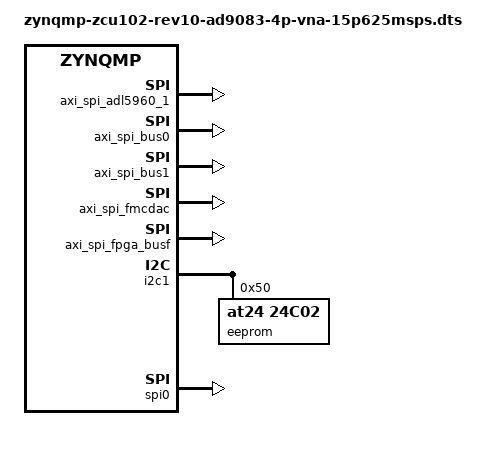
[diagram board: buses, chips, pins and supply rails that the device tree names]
// SPDX-License-Identifier: GPL-2.0
/*
 * Analog Devices AD9083-ADL5960
 * https://wiki.analog.com/resources/eval/dpg/ad9083-fmc-ebz
 * https://wiki.analog.com/resources/eval/dpg/eval-ad9083
 *
 * hdl_project: <adc_fmc_ebz/zcu102>
 * board_revision: <>
 *
 * Copyright (C) 2021 Analog Devices Inc.
 */

// / {
// 	amba_pl: amba_pl@0 {
// 		#address-cells = <2>;
// 		#size-cells = <2>;
// 		compatible = "simple-bus";
// 		ranges ;
// 		ad4858_axi: axi_spi_engine@84c00000 {
// 			clock-names = "s_axi_aclk", "spi_clk";
// 			clocks = <&zynqmp_clk 71>, <&misc_clk_0>;
// 			compatible = "xlnx,axi-spi-engine-1.0";
// 			reg = <0x84c00000 0x10000>;
// 		};
// 		misc_clk_0: misc_clk_0 {
// 			#clock-cells = <0>;
// 			clock-frequency = <96000000>;
// 			compatible = "fixed-clock";
// 		};
// 		axi_ad4858_clkgen: axi_clkgen@84c60000 {
// 			clock-names = "clk", "s_axi_aclk";
// 			clocks = <&zynqmp_clk 71>, <&zynqmp_clk 71>;
// 			compatible = "xlnx,axi-clkgen-1.0";
// 			reg = <0x84c60000 0x10000>;
// 		};
// 		axi_ad4858_dma: axi_dmac@84c30000 {
// 			clock-names = "s_axi_aclk", "m_dest_axi_aclk", "s_axis_aclk";
// 			clocks = <&zynqmp_clk 71>, <&zynqmp_clk 71>, <&misc_clk_0>;
// 			compatible = "xlnx,axi-dmac-1.0";
// 			interrupt-names = "irq";
// 			interrupt-parent = <&gic>;
// 			interrupts = <0 95 4>;
// 			reg = <0x84c30000 0x1000>;
// 		};
		// axi_ad9083_rx_dma: axi_dmac@9c400000 {
		// 	clock-names = "s_axi_aclk", "m_dest_axi_aclk", "fifo_wr_clk";
		// 	clocks = <&zynqmp_clk 71>, <&misc_clk_1>, <&misc_clk_2>;
		// 	compatible = "xlnx,axi-dmac-1.0";
		// 	interrupt-names = "irq";
		// 	interrupt-parent = <&gic>;
		// 	interrupts = <0 109 4>;
		// 	reg = <0x9c400000 0x1000>;
		// };
		// misc_clk_1: misc_clk_1 {
		// 	#clock-cells = <0>;
		// 	clock-frequency = <332903225>;
		// 	compatible = "fixed-clock";
		// };
		// misc_clk_2: misc_clk_2 {
		// 	#clock-cells = <0>;
		// 	clock-frequency = <100000000>;
		// 	compatible = "fixed-clock";
		// };
		// axi_ad9083_rx_jesd_rx_axi: axi_jesd204_rx@84aa0000 {
		// 	clock-names = "s_axi_aclk", "core_clk";
		// 	clocks = <&zynqmp_clk 71>, <&misc_clk_2>;
		// 	compatible = "xlnx,axi-jesd204-rx-1.0";
		// 	interrupt-names = "irq";
		// 	interrupt-parent = <&gic>;
		// 	interrupts = <0 108 4>;
		// 	reg = <0x84aa0000 0x4000>;
		// };
		// axi_ad9083_rx_xcvr: axi_adxcvr@84a60000 {
		// 	clock-names = "s_axi_aclk";
		// 	clocks = <&zynqmp_clk 71>;
		// 	compatible = "xlnx,axi-adxcvr-1.0";
		// 	reg = <0x84a60000 0x10000>;
		// };
		// axi_sdp_clkgen: axi_clkgen@84c40000 {
		// 	clock-names = "clk", "s_axi_aclk";
		// 	clocks = <&zynqmp_clk 71>, <&zynqmp_clk 71>;
		// 	compatible = "xlnx,axi-clkgen-1.0";
		// 	reg = <0x84c40000 0x10000>;
		// };
		// axi_spi_adl5960_1: axi_quad_spi@88200000 {
		// 	bits-per-word = <8>;
		// 	clock-names = "ext_spi_clk", "s_axi_aclk";
		// 	clocks = <&zynqmp_clk 71>, <&zynqmp_clk 71>;
		// 	compatible = "xlnx,axi-quad-spi-3.2", "xlnx,xps-spi-2.00.a";
		// 	fifo-size = <16>;
		// 	interrupt-names = "ip2intc_irpt";
		// 	interrupt-parent = <&gic>;
		// 	interrupts = <0 104 1>;
		// 	num-cs = <0x4>;
		// 	reg = <0x88200000 0x1000>;
		// 	xlnx,num-ss-bits = <0x4>;
		// 	xlnx,spi-mode = <0>;
		// };
		// axi_spi_bus0: axi_quad_spi@88000000 {
		// 	bits-per-word = <8>;
		// 	clock-names = "ext_spi_clk", "s_axi_aclk";
		// 	clocks = <&zynqmp_clk 71>, <&zynqmp_clk 71>;
		// 	compatible = "xlnx,axi-quad-spi-3.2", "xlnx,xps-spi-2.00.a";
		// 	fifo-size = <16>;
		// 	interrupt-names = "ip2intc_irpt";
		// 	interrupt-parent = <&gic>;
		// 	interrupts = <0 107 1>;
		// 	num-cs = <0x4>;
		// 	reg = <0x88000000 0x1000>;
		// 	xlnx,num-ss-bits = <0x4>;
		// 	xlnx,spi-mode = <0>;
		// };
		// axi_spi_bus1: axi_quad_spi@88100000 {
		// 	bits-per-word = <8>;
		// 	clock-names = "ext_spi_clk", "s_axi_aclk";
		// 	clocks = <&zynqmp_clk 71>, <&zynqmp_clk 71>;
		// 	compatible = "xlnx,axi-quad-spi-3.2", "xlnx,xps-spi-2.00.a";
		// 	fifo-size = <16>;
		// 	interrupt-names = "ip2intc_irpt";
		// 	interrupt-parent = <&gic>;
		// 	interrupts = <0 106 1>;
		// 	num-cs = <0x2>;
		// 	reg = <0x88100000 0x1000>;
		// 	xlnx,num-ss-bits = <0x2>;
		// 	xlnx,spi-mode = <0>;
		// };
		// axi_spi_fmcdac: axi_quad_spi@88300000 {
		// 	bits-per-word = <8>;
		// 	clock-names = "ext_spi_clk", "s_axi_aclk";
		// 	clocks = <&zynqmp_clk 71>, <&zynqmp_clk 71>;
		// 	compatible = "xlnx,axi-quad-spi-3.2", "xlnx,xps-spi-2.00.a";
		// 	fifo-size = <16>;
		// 	num-cs = <0x1>;
		// 	reg = <0x88300000 0x1000>;
		// 	xlnx,num-ss-bits = <0x1>;
		// 	xlnx,spi-mode = <0>;
		// };
		// axi_spi_fpga_busf: axi_quad_spi@88400000 {
		// 	bits-per-word = <8>;
		// 	clock-names = "ext_spi_clk", "s_axi_aclk";
		// 	clocks = <&zynqmp_clk 71>, <&zynqmp_clk 71>;
		// 	compatible = "xlnx,axi-quad-spi-3.2", "xlnx,xps-spi-2.00.a";
		// 	fifo-size = <16>;
		// 	interrupt-names = "ip2intc_irpt";
		// 	interrupt-parent = <&gic>;
		// 	interrupts = <0 105 1>;
		// 	num-cs = <0x1>;
		// 	reg = <0x88400000 0x1000>;
		// 	xlnx,num-ss-bits = <0x1>;
		// 	xlnx,spi-mode = <0>;
		// };
		// axi_sysid_0: axi_sysid@85000000 {
		// 	clock-names = "s_axi_aclk";
		// 	clocks = <&zynqmp_clk 71>;
		// 	compatible = "xlnx,axi-sysid-1.0";
		// 	reg = <0x85000000 0x10000>;
		// };
		// dac_dma: axi_dmac@9c420000 {
		// 	clock-names = "s_axi_aclk", "m_src_axi_aclk", "m_axis_aclk";
		// 	clocks = <&zynqmp_clk 71>, <&zynqmp_clk 71>, <&zynqmp_clk 71>;
		// 	compatible = "xlnx,axi-dmac-1.0";
		// 	interrupt-names = "irq";
		// 	interrupt-parent = <&gic>;
		// 	interrupts = <0 94 4>;
		// 	reg = <0x9c420000 0x1000>;
		// };
		// dac_jesd204_link_tx_axi: axi_jesd204_tx@84b90000 {
		// 	clock-names = "s_axi_aclk", "core_clk";
		// 	clocks = <&zynqmp_clk 71>, <&misc_clk_2>;
		// 	compatible = "xlnx,axi-jesd204-tx-1.0";
		// 	interrupt-names = "irq";
		// 	interrupt-parent = <&gic>;
		// 	interrupts = <0 93 4>;
		// 	reg = <0x84b90000 0x4000>;
		// };
		// dac_jesd204_transport_dac_tpl_core: ad_ip_jesd204_tpl_dac@84b04000 {
		// 	clock-names = "link_clk", "s_axi_aclk";
		// 	clocks = <&misc_clk_2>, <&zynqmp_clk 71>;
		// 	compatible = "xlnx,ad-ip-jesd204-tpl-dac-1.0";
		// 	reg = <0x84b04000 0x2000>;
		// };
		// dac_jesd204_xcvr: axi_adxcvr@84b60000 {
		// 	clock-names = "s_axi_aclk";
		// 	clocks = <&zynqmp_clk 71>;
		// 	compatible = "xlnx,axi-adxcvr-1.0";
		// 	reg = <0x84b60000 0x10000>;
		// };
		// odr_generator: axi_pwm_gen@84c50000 {
		// 	clock-names = "s_axi_aclk";
		// 	clocks = <&zynqmp_clk 71>;
		// 	compatible = "xlnx,axi-pwm-gen-1.0";
		// 	reg = <0x84c50000 0x10000>;
		// };
		// rx_ad9083_tpl_core_adc_tpl_core: ad_ip_jesd204_tpl_adc@84a00000 {
		// 	clock-names = "link_clk", "s_axi_aclk";
		// 	clocks = <&misc_clk_2>, <&zynqmp_clk 71>;
		// 	compatible = "xlnx,ad-ip-jesd204-tpl-adc-1.0";
		// 	reg = <0x84a00000 0x2000>;
		// };
// 	};
// };

#include "zynqmp-zcu102-rev1.0.dts"
#include <dt-bindings/interrupt-controller/irq.h>
#include <dt-bindings/jesd204/adxcvr.h>

/ {
	fpga_axi: fpga-axi@0 {
		interrupt-parent = <&gic>;
		compatible = "simple-bus";
		#address-cells = <0x1>;
		#size-cells = <0x1>;
		ranges = <0 0 0 0xffffffff>;

		rx_dma: dma@9c400000 {
			compatible = "adi,axi-dmac-1.00.a";
			reg = <0x9c400000 0x10000>;
			#dma-cells = <1>;
			#clock-cells = <0>;
			interrupts = <0 109 IRQ_TYPE_LEVEL_HIGH>;
			clocks = <&zynqmp_clk 73>;
		};

		axi_ad9083_core_rx: axi-ad9083-rx-hpc@84a00000 {
			compatible = "adi,axi-ad9083-rx-1.0";
			reg = <0x84a00000 0x8000>;
			dmas = <&rx_dma 0>;
			dma-names = "rx";
			spibus-connected = <&adc0_ad9083>;

			jesd204-device;
			#jesd204-cells = <2>;
			jesd204-inputs = <&axi_ad9083_rx_jesd 0 0>;
		};

		axi_ad9083_rx_jesd: axi-jesd204-rx@0x84AA0000 {
			compatible = "adi,axi-jesd204-rx-1.0";
			reg = <0x84AA0000 0x1000>;

			interrupts = <0 108 IRQ_TYPE_LEVEL_HIGH>;

			clocks = <&zynqmp_clk 71>, <&ad9528 1>, <&axi_ad9083_adxcvr_rx 0>, <&axi_ad9083_adxcvr_rx 1>;
			clock-names = "s_axi_aclk", "device_clk", "lane_clk", "link_clk";

			#clock-cells = <0>;
			clock-output-names = "jesd_rx_lane_clk";

			jesd204-device;
			#jesd204-cells = <2>;
			jesd204-inputs = <&axi_ad9083_adxcvr_rx 0 0>;
		};

		axi_ad9083_adxcvr_rx: axi-adxcvr-rx@84a60000 {
			#address-cells = <1>;
			#size-cells = <0>;
			compatible = "adi,axi-adxcvr-1.0";
			reg = <0x84a60000 0x1000>;

			clocks = <&ad9528 3>;
			clock-names = "conv";

			#clock-cells = <1>;
			clock-output-names = "rx_gt_clk", "rx_out_clk";

			adi,sys-clk-select = <XCVR_QPLL>;
			adi,out-clk-select = <XCVR_PROGDIV_CLK>;
			adi,use-lpm-enable;

			jesd204-device;
			#jesd204-cells = <2>;
			jesd204-inputs = <&ad9528 0 0>;
		};

		axi_spi_adl5960_1: spi@88200000 {
			#address-cells = <1>;
			#size-cells = <0>;
			bits-per-word = <8>;
			clock-names = "ext_spi_clk", "s_axi_aclk";
			clocks = <&zynqmp_clk 71>, <&zynqmp_clk 71>;
			compatible = "xlnx,axi-quad-spi-3.2", "xlnx,xps-spi-2.00.a";
			fifo-size = <16>;
			interrupt-names = "ip2intc_irpt";
			interrupt-parent = <&gic>;
			interrupts = <0 104 1>;
			num-cs = <0x4>;
			reg = <0x88200000 0x1000>;
			xlnx,num-ss-bits = <0x4>;
			xlnx,spi-mode = <0>;
		};
		axi_spi_bus0: spi@88000000 {
			#address-cells = <1>;
			#size-cells = <0>;
			bits-per-word = <8>;
			clock-names = "ext_spi_clk", "s_axi_aclk";
			clocks = <&zynqmp_clk 71>, <&zynqmp_clk 71>;
			compatible = "xlnx,axi-quad-spi-3.2", "xlnx,xps-spi-2.00.a";
			fifo-size = <16>;
			interrupt-names = "ip2intc_irpt";
			interrupt-parent = <&gic>;
			interrupts = <0 107 1>;
			num-cs = <0x4>;
			reg = <0x88000000 0x1000>;
			xlnx,num-ss-bits = <0x4>;
			xlnx,spi-mode = <0>;
		};
		axi_spi_bus1: spi@88100000 {
			#address-cells = <1>;
			#size-cells = <0>;
			bits-per-word = <8>;
			clock-names = "ext_spi_clk", "s_axi_aclk";
			clocks = <&zynqmp_clk 71>, <&zynqmp_clk 71>;
			compatible = "xlnx,axi-quad-spi-3.2", "xlnx,xps-spi-2.00.a";
			fifo-size = <16>;
			interrupt-names = "ip2intc_irpt";
			interrupt-parent = <&gic>;
			interrupts = <0 106 1>;
			num-cs = <0x2>;
			reg = <0x88100000 0x1000>;
			xlnx,num-ss-bits = <0x2>;
			xlnx,spi-mode = <0>;
		};
		axi_spi_fmcdac: spi@88300000 {
			#address-cells = <1>;
			#size-cells = <0>;
			bits-per-word = <8>;
			clock-names = "ext_spi_clk", "s_axi_aclk";
			clocks = <&zynqmp_clk 71>, <&zynqmp_clk 71>;
			compatible = "xlnx,axi-quad-spi-3.2", "xlnx,xps-spi-2.00.a";
			fifo-size = <16>;
			interrupt-names = "ip2intc_irpt";
			interrupt-parent = <&gic>;
			interrupts = <0 92 1>;
			num-cs = <0x1>;
			reg = <0x88300000 0x1000>;
			xlnx,num-ss-bits = <0x1>;
			xlnx,spi-mode = <0>;
		};
		axi_spi_fpga_busf: spi@88400000 {
			#address-cells = <1>;
			#size-cells = <0>;
			bits-per-word = <8>;
			clock-names = "ext_spi_clk", "s_axi_aclk";
			clocks = <&zynqmp_clk 71>, <&zynqmp_clk 71>;
			compatible = "xlnx,axi-quad-spi-3.2", "xlnx,xps-spi-2.00.a";
			fifo-size = <16>;
			interrupt-names = "ip2intc_irpt";
			interrupt-parent = <&gic>;
			interrupts = <0 105 1>;
			num-cs = <0x1>;
			reg = <0x88400000 0x1000>;
			xlnx,num-ss-bits = <0x1>;
			xlnx,spi-mode = <0>;
		};

		/* JESD204 DAC AD9173 */

#if 0
		tx_dma: tx-dmac@9c420000 {
			#dma-cells = <1>;
			compatible = "adi,axi-dmac-1.00.a";
			reg = <0x9c420000 0x10000>;
			interrupts = <0 94 IRQ_TYPE_LEVEL_HIGH>;
			clocks = <&zynqmp_clk 71>;
		};

		axi_ad9172_core: axi-ad9172-hpc@84b04000 {
			compatible = "adi,axi-ad9172-1.0";
			reg = <0x84b04000 0x10000>;
			dmas = <&tx_dma 0>;
			dma-names = "tx";
			spibus-connected = <&dac0_ad9172>;
			adi,axi-pl-fifo-enable;

			/* jesd204-fsm support */
			jesd204-device;
			#jesd204-cells = <2>;
			jesd204-inputs = <&axi_ad9172_jesd 1 0>;
		};

		axi_ad9172_jesd: axi-jesd204-tx@84b90000 {
			compatible = "adi,axi-jesd204-tx-1.0";
			reg = <0x84b90000 0x4000>;

			interrupts = <0 93 IRQ_TYPE_LEVEL_HIGH>;

			clocks = <&zynqmp_clk 71>, <&axi_ad9172_adxcvr 1>, <&axi_ad9172_adxcvr 0>;
			clock-names = "s_axi_aclk", "device_clk", "lane_clk";

			#clock-cells = <0>;
			clock-output-names = "jesd_dac_lane_clk";

			/* jesd204-fsm support */
			jesd204-device;
			#jesd204-cells = <2>;
			jesd204-inputs = <&axi_ad9172_adxcvr 1 0>;
		};

		axi_ad9172_adxcvr: axi-adxcvr-tx@84b60000 {
			compatible = "adi,axi-adxcvr-1.0";
			reg = <0x84b60000 0x1000>;

			clocks = <&ad9528 10>;
			clock-names = "conv";

			adi,sys-clk-select = <XCVR_QPLL>;
			adi,out-clk-select = <XCVR_PROGDIV_CLK>;
			adi,use-lpm-enable;

			#clock-cells = <1>;
			clock-output-names = "tx_gt_clk", "tx_out_clk";

			/* jesd204-fsm support */
			jesd204-device;
			#jesd204-cells = <2>;
			jesd204-inputs = <&ad9528 1 0>;
		};
#endif

		/* AD4858 ADC */


		axi_sysid_0: axi-sysid-0@85000000 {
			compatible = "adi,axi-sysid-1.00.a";
			reg = <0x85000000 0x10000>;
		};
	};
};

&i2c1 {
	i2c-mux@75 {
		i2c@0 {
			#address-cells = <1>;
			#size-cells = <0>;
			reg = <0>;
			/* HPC0_IIC */

			eeprom@50 {
				compatible = "at24,24c02";
				reg = <0x50>;
			};

		};
	};
};

&spi0 {
	status = "okay";
};

#include "adi-ad9083-4p-vna.dtsi"


// GPIO Signal 		GPIO 	HDL GPIO EMIOn
// adcpd 		130 	52
// fpga_bus0_rstn 	129 	51
// fpga_busf_sfl 	128 	50
// gpio_sw_pg 		126 	48
// gpio_mix2en		121	43
// gpio_sw3_v2 		120 	42
// gpio_sw4_v2 		119 	41
// gpio_sw4_v1 		118 	40
// gpio_sw3_v1 		117 	39
// gpio_sw2 		116 	38
// gpio_sw1_v2 		115 	37
// gpio_sw1_v1 		114 	36
// adl5960x_sync1 	113 	35
// fpga_adclk_refsel 	112 	34
// fmc_rstb 		111 	33
// fmc_pd 		110 	32


&adc0_ad9083 {
	pwdn-gpios = <&gpio 110 0>;
	//reset-gpios = <&gpio 111 0>;
};
